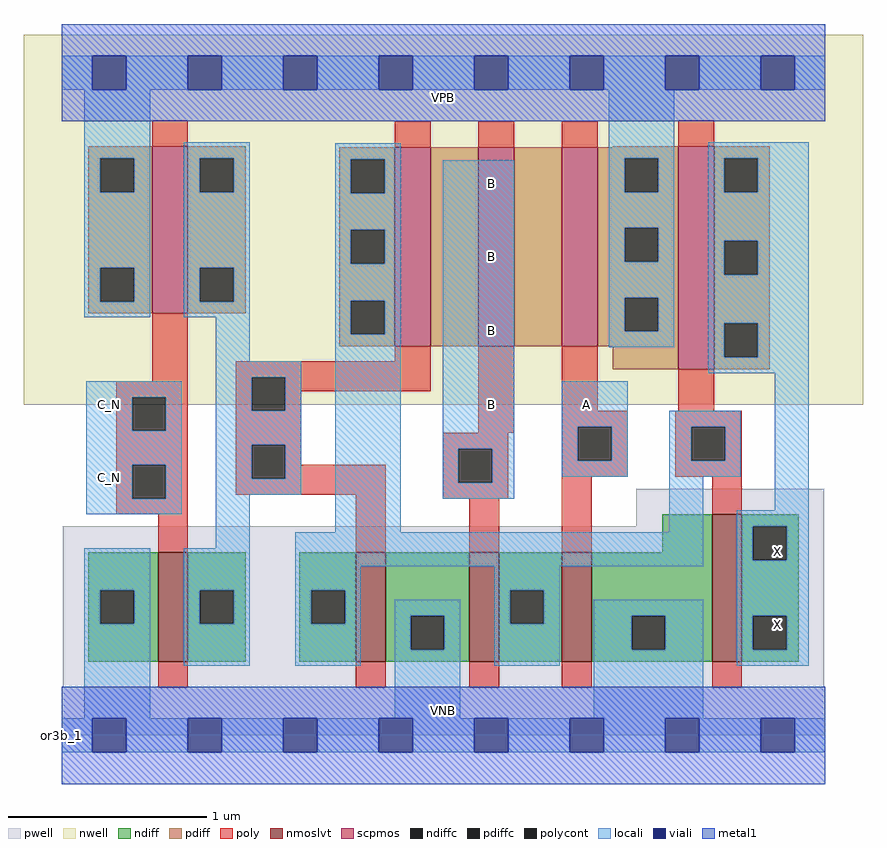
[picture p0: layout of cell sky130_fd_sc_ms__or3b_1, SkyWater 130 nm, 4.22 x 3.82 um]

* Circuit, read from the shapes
.subckt sky130_fd_sc_ms__or3b_1 A B C_N VGND VNB VPB VPWR X
XM1 n1 C_N VGND VNB sky130_fd_pr__nfet_01v8_lvt w=0.55 l=0.15
XM2 VGND n1 n2 VNB sky130_fd_pr__nfet_01v8_lvt w=0.55 l=0.15
XM3 n2 B VGND VNB sky130_fd_pr__nfet_01v8_lvt w=0.55 l=0.15
XM4 VGND A n2 VNB sky130_fd_pr__nfet_01v8_lvt w=0.55 l=0.15
XM5 X n2 VGND VNB sky130_fd_pr__nfet_01v8_lvt w=0.74 l=0.15
XM6 n1 C_N VPWR VPB sky130_fd_pr__pfet_01v8 w=0.84 l=0.18
XM7 n3 n1 n2 VPB sky130_fd_pr__pfet_01v8 w=1 l=0.18
XM8 n4 B n3 VPB sky130_fd_pr__pfet_01v8 w=1 l=0.18
XM9 VPWR A n4 VPB sky130_fd_pr__pfet_01v8 w=1 l=0.18
XM10 X n2 VPWR VPB sky130_fd_pr__pfet_01v8 w=1.12 l=0.18
.ends

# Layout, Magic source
magic
tech sky130A
magscale 1 2
<< nwell >>
rect -38 332 806 704
<< pwell >>
rect 578 210 767 248
rect 1 49 767 210
rect 0 0 768 49
<< scpmos >>
rect 91 424 127 592
rect 335 391 371 591
rect 419 391 455 591
rect 503 391 539 591
rect 620 368 656 592
<< nmoslvt >>
rect 97 74 127 184
rect 296 74 326 184
rect 410 74 440 184
rect 503 74 533 184
rect 654 74 684 222
<< ndiff >>
rect 604 184 654 222
rect 27 146 97 184
rect 27 112 39 146
rect 73 112 97 146
rect 27 74 97 112
rect 127 146 185 184
rect 127 112 139 146
rect 173 112 185 146
rect 127 74 185 112
rect 239 146 296 184
rect 239 112 251 146
rect 285 112 296 146
rect 239 74 296 112
rect 326 120 410 184
rect 326 86 351 120
rect 385 86 410 120
rect 326 74 410 86
rect 440 146 503 184
rect 440 112 451 146
rect 485 112 503 146
rect 440 74 503 112
rect 533 120 654 184
rect 533 86 573 120
rect 607 86 654 120
rect 533 74 654 86
rect 684 210 741 222
rect 684 176 695 210
rect 729 176 741 210
rect 684 120 741 176
rect 684 86 695 120
rect 729 86 741 120
rect 684 74 741 86
<< pdiff >>
rect 27 580 91 592
rect 27 546 39 580
rect 73 546 91 580
rect 27 470 91 546
rect 27 436 39 470
rect 73 436 91 470
rect 27 424 91 436
rect 127 580 185 592
rect 554 591 620 592
rect 127 546 139 580
rect 173 546 185 580
rect 127 470 185 546
rect 127 436 139 470
rect 173 436 185 470
rect 127 424 185 436
rect 279 579 335 591
rect 279 545 291 579
rect 325 545 335 579
rect 279 508 335 545
rect 279 474 291 508
rect 325 474 335 508
rect 279 437 335 474
rect 279 403 291 437
rect 325 403 335 437
rect 279 391 335 403
rect 371 391 419 591
rect 455 391 503 591
rect 539 580 620 591
rect 539 546 566 580
rect 600 546 620 580
rect 539 510 620 546
rect 539 476 566 510
rect 600 476 620 510
rect 539 440 620 476
rect 539 406 566 440
rect 600 406 620 440
rect 539 391 620 406
rect 554 368 620 391
rect 656 580 712 592
rect 656 546 666 580
rect 700 546 712 580
rect 656 497 712 546
rect 656 463 666 497
rect 700 463 712 497
rect 656 414 712 463
rect 656 380 666 414
rect 700 380 712 414
rect 656 368 712 380
<< ndiffc >>
rect 39 112 73 146
rect 139 112 173 146
rect 251 112 285 146
rect 351 86 385 120
rect 451 112 485 146
rect 573 86 607 120
rect 695 176 729 210
rect 695 86 729 120
<< pdiffc >>
rect 39 546 73 580
rect 39 436 73 470
rect 139 546 173 580
rect 139 436 173 470
rect 291 545 325 579
rect 291 474 325 508
rect 291 403 325 437
rect 566 546 600 580
rect 566 476 600 510
rect 566 406 600 440
rect 666 546 700 580
rect 666 463 700 497
rect 666 380 700 414
<< poly >>
rect 91 592 127 618
rect 335 591 371 617
rect 419 591 455 617
rect 503 591 539 617
rect 620 592 656 618
rect 91 356 127 424
rect 335 376 371 391
rect 55 340 127 356
rect 55 306 71 340
rect 105 306 127 340
rect 55 272 127 306
rect 55 238 71 272
rect 105 238 127 272
rect 175 360 371 376
rect 175 326 191 360
rect 225 346 371 360
rect 225 326 241 346
rect 175 292 241 326
rect 419 304 455 391
rect 503 326 539 391
rect 620 326 656 368
rect 503 310 569 326
rect 175 258 191 292
rect 225 272 241 292
rect 383 288 449 304
rect 225 258 326 272
rect 175 242 326 258
rect 55 222 127 238
rect 97 184 127 222
rect 296 184 326 242
rect 383 254 399 288
rect 433 254 449 288
rect 383 238 449 254
rect 503 276 519 310
rect 553 276 569 310
rect 503 260 569 276
rect 617 310 684 326
rect 617 276 633 310
rect 667 276 684 310
rect 617 260 684 276
rect 410 184 440 238
rect 503 184 533 260
rect 654 222 684 260
rect 97 48 127 74
rect 296 48 326 74
rect 410 48 440 74
rect 503 48 533 74
rect 654 48 684 74
<< polycont >>
rect 71 306 105 340
rect 71 238 105 272
rect 191 326 225 360
rect 191 258 225 292
rect 399 254 433 288
rect 519 276 553 310
rect 633 276 667 310
<< locali >>
rect 0 649 31 683
rect 65 649 127 683
rect 161 649 223 683
rect 257 649 319 683
rect 353 649 415 683
rect 449 649 511 683
rect 545 649 607 683
rect 641 649 703 683
rect 737 649 768 683
rect 23 580 89 649
rect 23 546 39 580
rect 73 546 89 580
rect 23 470 89 546
rect 23 436 39 470
rect 73 436 89 470
rect 23 420 89 436
rect 123 580 189 596
rect 123 546 139 580
rect 173 546 189 580
rect 123 470 189 546
rect 123 436 139 470
rect 173 436 189 470
rect 123 420 189 436
rect 155 376 189 420
rect 275 579 341 595
rect 275 545 291 579
rect 325 545 341 579
rect 550 580 616 649
rect 275 508 341 545
rect 275 474 291 508
rect 325 474 341 508
rect 275 437 341 474
rect 275 403 291 437
rect 325 403 341 437
rect 155 360 241 376
rect 25 340 121 356
rect 25 306 71 340
rect 105 306 121 340
rect 25 272 121 306
rect 25 238 71 272
rect 105 238 121 272
rect 25 222 121 238
rect 155 326 191 360
rect 225 326 241 360
rect 155 292 241 326
rect 155 258 191 292
rect 225 258 241 292
rect 155 242 241 258
rect 155 188 189 242
rect 275 204 341 403
rect 383 288 455 578
rect 550 546 566 580
rect 600 546 616 580
rect 550 510 616 546
rect 550 476 566 510
rect 600 476 616 510
rect 550 440 616 476
rect 550 406 566 440
rect 600 406 616 440
rect 550 390 616 406
rect 650 580 751 596
rect 650 546 666 580
rect 700 546 751 580
rect 650 497 751 546
rect 650 463 666 497
rect 700 463 751 497
rect 650 414 751 463
rect 650 380 666 414
rect 700 380 751 414
rect 650 364 751 380
rect 383 254 399 288
rect 433 254 455 288
rect 503 310 569 356
rect 503 276 519 310
rect 553 276 569 310
rect 503 260 569 276
rect 611 310 683 326
rect 611 276 633 310
rect 667 276 683 310
rect 611 260 683 276
rect 383 238 455 254
rect 611 204 645 260
rect 717 226 751 364
rect 23 146 89 188
rect 23 112 39 146
rect 73 112 89 146
rect 23 17 89 112
rect 123 146 189 188
rect 123 112 139 146
rect 173 112 189 146
rect 123 70 189 112
rect 235 170 645 204
rect 679 210 751 226
rect 679 176 695 210
rect 729 176 751 210
rect 235 146 301 170
rect 235 112 251 146
rect 285 112 301 146
rect 435 146 501 170
rect 235 70 301 112
rect 335 120 401 136
rect 335 86 351 120
rect 385 86 401 120
rect 335 17 401 86
rect 435 112 451 146
rect 485 112 501 146
rect 435 70 501 112
rect 535 120 645 136
rect 535 86 573 120
rect 607 86 645 120
rect 535 17 645 86
rect 679 120 751 176
rect 679 86 695 120
rect 729 86 751 120
rect 679 70 751 86
rect 0 -17 31 17
rect 65 -17 127 17
rect 161 -17 223 17
rect 257 -17 319 17
rect 353 -17 415 17
rect 449 -17 511 17
rect 545 -17 607 17
rect 641 -17 703 17
rect 737 -17 768 17
<< viali >>
rect 31 649 65 683
rect 127 649 161 683
rect 223 649 257 683
rect 319 649 353 683
rect 415 649 449 683
rect 511 649 545 683
rect 607 649 641 683
rect 703 649 737 683
rect 31 -17 65 17
rect 127 -17 161 17
rect 223 -17 257 17
rect 319 -17 353 17
rect 415 -17 449 17
rect 511 -17 545 17
rect 607 -17 641 17
rect 703 -17 737 17
<< metal1 >>
rect 0 683 768 715
rect 0 649 31 683
rect 65 649 127 683
rect 161 649 223 683
rect 257 649 319 683
rect 353 649 415 683
rect 449 649 511 683
rect 545 649 607 683
rect 641 649 703 683
rect 737 649 768 683
rect 0 617 768 649
rect 0 17 768 49
rect 0 -17 31 17
rect 65 -17 127 17
rect 161 -17 223 17
rect 257 -17 319 17
rect 353 -17 415 17
rect 449 -17 511 17
rect 545 -17 607 17
rect 641 -17 703 17
rect 737 -17 768 17
rect 0 -49 768 -17
<< labels >>
flabel pwell s 0 0 768 49 0 FreeSans 200 0 0 0 VNB
port 5 nsew ground bidirectional
flabel nwell s 0 617 768 666 0 FreeSans 200 0 0 0 VPB
port 6 nsew power bidirectional
rlabel comment s 0 0 0 0 4 or3b_1
flabel metal1 s 0 617 768 666 0 FreeSans 340 0 0 0 VPWR
port 7 nsew power bidirectional
flabel metal1 s 0 0 768 49 0 FreeSans 340 0 0 0 VGND
port 4 nsew ground bidirectional
flabel locali s 511 316 545 350 0 FreeSans 340 0 0 0 A
port 1 nsew signal input
flabel locali s 415 316 449 350 0 FreeSans 340 0 0 0 B
port 2 nsew signal input
flabel locali s 415 390 449 424 0 FreeSans 340 0 0 0 B
port 2 nsew signal input
flabel locali s 415 464 449 498 0 FreeSans 340 0 0 0 B
port 2 nsew signal input
flabel locali s 415 538 449 572 0 FreeSans 340 0 0 0 B
port 2 nsew signal input
flabel locali s 31 242 65 276 0 FreeSans 340 0 0 0 C_N
port 3 nsew signal input
flabel locali s 31 316 65 350 0 FreeSans 340 0 0 0 C_N
port 3 nsew signal input
flabel locali s 703 94 737 128 0 FreeSans 340 0 0 0 X
port 8 nsew signal output
flabel locali s 703 168 737 202 0 FreeSans 340 0 0 0 X
port 8 nsew signal output
<< properties >>
string LEFsite unit
string LEFclass CORE
string FIXED_BBOX 0 0 768 666
string GDS_FILE $PDKPATH/libs.ref/sky130_fd_sc_ms/gds/sky130_fd_sc_ms.gds
string LEFsymmetry X Y
string GDS_END 619694
string GDS_START 612624
<< end >>
